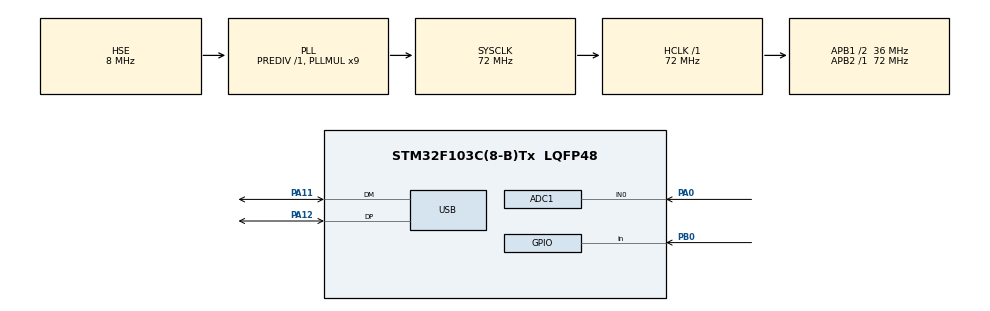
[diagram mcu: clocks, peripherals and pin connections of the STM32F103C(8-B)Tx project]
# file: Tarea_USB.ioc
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ADC1.Channel-0\#ChannelRegularConversion=ADC_CHANNEL_0
ADC1.ContinuousConvMode=DISABLE
ADC1.NbrOfConversion=1
ADC1.NbrOfConversionFlag=1
ADC1.Rank-0\#ChannelRegularConversion=1
ADC1.SamplingTime-0\#ChannelRegularConversion=ADC_SAMPLETIME_1CYCLE_5
ADC1.master=1
Dma.ADC1.0.Direction=DMA_PERIPH_TO_MEMORY
Dma.ADC1.0.Instance=DMA1_Channel1
Dma.ADC1.0.MemDataAlignment=DMA_MDATAALIGN_HALFWORD
Dma.ADC1.0.MemInc=DMA_MINC_ENABLE
Dma.ADC1.0.Mode=DMA_CIRCULAR
Dma.ADC1.0.PeriphDataAlignment=DMA_PDATAALIGN_HALFWORD
Dma.ADC1.0.PeriphInc=DMA_PINC_DISABLE
Dma.ADC1.0.Priority=DMA_PRIORITY_LOW
Dma.Request0=ADC1
Mcu.Family=STM32F1
Mcu.Name=STM32F103C(8-B)Tx
Mcu.Package=LQFP48
NVIC.ADC1_2_IRQn=true\:0\:0\:false\:false\:true\:true\:true\:true
NVIC.DMA1_Channel1_IRQn=true\:0\:0\:false\:false\:true\:false\:true\:true
NVIC.PriorityGroup=NVIC_PRIORITYGROUP_4
NVIC.USB_LP_CAN1_RX0_IRQn=true\:0\:0\:false\:false\:true\:false\:true\:true
PA0-WKUP.Signal=ADCx_IN0
PA11.Mode=Device
PA11.Signal=USB_DM
PA12.Mode=Device
PA12.Signal=USB_DP
PA13.Mode=Serial_Wire
PA13.Signal=SYS_JTMS-SWDIO
PA14.Mode=Serial_Wire
PA14.Signal=SYS_JTCK-SWCLK
PB0.GPIO_PuPd=GPIO_PULLUP
PB0.Signal=GPIO_Input
PD0-OSC_IN.Mode=HSE-External-Oscillator
PD0-OSC_IN.Signal=RCC_OSC_IN
PD1-OSC_OUT.Mode=HSE-External-Oscillator
PD1-OSC_OUT.Signal=RCC_OSC_OUT
ProjectManager.HeapSize=0x200
ProjectManager.StackSize=0x400
ProjectManager.TargetToolchain=STM32CubeIDE
RCC.ADCPresc=RCC_ADCPCLK2_DIV6
RCC.AHBFreq_Value=72000000
RCC.APB1CLKDivider=RCC_HCLK_DIV2
RCC.APB1Freq_Value=36000000
RCC.APB1TimFreq_Value=72000000
RCC.APB2Freq_Value=72000000
RCC.APB2TimFreq_Value=72000000
RCC.HCLKFreq_Value=72000000
RCC.PLLMUL=RCC_PLL_MUL9
RCC.PLLSourceVirtual=RCC_PLLSOURCE_HSE
RCC.SYSCLKFreq_VALUE=72000000
RCC.SYSCLKSource=RCC_SYSCLKSOURCE_PLLCLK
RCC.USBFreq_Value=48000000
RCC.USBPrescaler=RCC_USBCLKSOURCE_PLL_DIV1_5
SH.ADCx_IN0.0=ADC1_IN0,IN0
TIM3.Channel-Output\ Compare1\ No\ Output=TIM_CHANNEL_1
TIM3.Period=10285
TIM3.TIM_MasterOutputTrigger=TIM_TRGO_UPDATE
USB_DEVICE.CLASS_NAME_FS=HID
USB_DEVICE.VirtualMode=Hid
USB_DEVICE.VirtualModeFS=Hid_FS
VP_TIM3_VS_no_output1.Mode=Output Compare1 No Output
VP_USB_DEVICE_VS_USB_DEVICE_HID_FS.Mode=HID_FS
board=custom

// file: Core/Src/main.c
/* USER CODE BEGIN Header */
/**
  ******************************************************************************
  * @file           : main.c
  * @brief          : Main program body
  ******************************************************************************
  * @attention
  *
  * Copyright (c) 2022 STMicroelectronics.
  * All rights reserved.
  *
  * This software is licensed under terms that can be found in the LICENSE file
  * in the root directory of this software component.
  * If no LICENSE file comes with this software, it is provided AS-IS.
  *
  ******************************************************************************
  */
/* USER CODE END Header */
#include "main.h"
#include "usb_device.h"

/* USER CODE BEGIN Includes */
#include "arrebote.h"
#include "usbd_hid.h"
/* USER CODE END Includes */

/* USER CODE BEGIN PD */
#define PULSADOR_ACTIVO_BAJO	(1)
#define PULSADOR_TICS			(20)
#define PULSADOR_PUERTO			(GPIOB)
#define PULSADOR_PIN			(GPIO_PIN_0)
/* USER CODE END PD */

 ADC_HandleTypeDef hadc1;

TIM_HandleTypeDef htim3;

/* USER CODE BEGIN PV */

extern USBD_HandleTypeDef hUsbDeviceFS;

typedef struct
{
    uint8_t boton;
    int8_t X;
    int8_t Y;
}joystick_report;

int8_t reporte[3];
arrebote pulsador;
/* USER CODE END PV */

void SystemClock_Config(void);
static void MX_GPIO_Init(void);
static void MX_ADC1_Init(void);
static void MX_TIM3_Init(void);

int main(void)
{
  /* USER CODE BEGIN 1 */
//joystick_report reporte;
  /* USER CODE END 1 */

  /* MCU Configuration--------------------------------------------------------*/

  /* Reset of all peripherals, Initializes the Flash interface and the Systick. */
  HAL_Init();

  /* Configure the system clock */
  SystemClock_Config();

  /* Initialize all configured peripherals */
  MX_GPIO_Init();
  MX_USB_DEVICE_Init();
  MX_ADC1_Init();
  MX_TIM3_Init();
  /* USER CODE BEGIN 2 */

  reporte[0] = 0;

  //HAL_ADC_Start_DMA(&hadc1,(uint32_t*)&(reporte[1]), 1);//vario en X
  inicializar_arrebote(&pulsador, PULSADOR_ACTIVO_BAJO, PULSADOR_TICS);

  /* USER CODE END 2 */

  /* Infinite loop */
  /* USER CODE BEGIN WHILE */
  while (1)
  {
	  chequear_arrebote(&pulsador, HAL_GPIO_ReadPin(PULSADOR_PUERTO, PULSADOR_PIN));
	  if(hay_flanco_arrebote(&pulsador))
	  {
		  reporte[0] = 1 - reporte[0]; // toggle from 0 to 1 ... or 1 to 0
	  }
	  HAL_ADC_Start(&hadc1);
	  HAL_ADC_PollForConversion(&hadc1, HAL_MAX_DELAY);
	  reporte[1]= ((HAL_ADC_GetValue(&hadc1))>>4) & 0xFF;
	  HAL_Delay(10);
	  USBD_HID_SendReport(&hUsbDeviceFS, (uint8_t*)reporte, 3);
    /* USER CODE END WHILE */

  }
}

void SystemClock_Config(void)
{
  RCC_OscInitTypeDef RCC_OscInitStruct = {0};
  RCC_ClkInitTypeDef RCC_ClkInitStruct = {0};
  RCC_PeriphCLKInitTypeDef PeriphClkInit = {0};

  /** Initializes the RCC Oscillators according to the specified parameters
  * in the RCC_OscInitTypeDef structure.
  */
  RCC_OscInitStruct.OscillatorType = RCC_OSCILLATORTYPE_HSE;
  RCC_OscInitStruct.HSEState = RCC_HSE_ON;
  RCC_OscInitStruct.HSEPredivValue = RCC_HSE_PREDIV_DIV1;
  RCC_OscInitStruct.HSIState = RCC_HSI_ON;
  RCC_OscInitStruct.PLL.PLLState = RCC_PLL_ON;
  RCC_OscInitStruct.PLL.PLLSource = RCC_PLLSOURCE_HSE;
  RCC_OscInitStruct.PLL.PLLMUL = RCC_PLL_MUL9;
  if (HAL_RCC_OscConfig(&RCC_OscInitStruct) != HAL_OK)
  {
    Error_Handler();
  }

  /** Initializes the CPU, AHB and APB buses clocks
  */
  RCC_ClkInitStruct.ClockType = RCC_CLOCKTYPE_HCLK|RCC_CLOCKTYPE_SYSCLK
                              |RCC_CLOCKTYPE_PCLK1|RCC_CLOCKTYPE_PCLK2;
  RCC_ClkInitStruct.SYSCLKSource = RCC_SYSCLKSOURCE_PLLCLK;
  RCC_ClkInitStruct.AHBCLKDivider = RCC_SYSCLK_DIV1;
  RCC_ClkInitStruct.APB1CLKDivider = RCC_HCLK_DIV2;
  RCC_ClkInitStruct.APB2CLKDivider = RCC_HCLK_DIV1;

  if (HAL_RCC_ClockConfig(&RCC_ClkInitStruct, FLASH_LATENCY_2) != HAL_OK)
  {
    Error_Handler();
  }
  PeriphClkInit.PeriphClockSelection = RCC_PERIPHCLK_ADC|RCC_PERIPHCLK_USB;
  PeriphClkInit.AdcClockSelection = RCC_ADCPCLK2_DIV6;
  PeriphClkInit.UsbClockSelection = RCC_USBCLKSOURCE_PLL_DIV1_5;
  if (HAL_RCCEx_PeriphCLKConfig(&PeriphClkInit) != HAL_OK)
  {
    Error_Handler();
  }
}

static void MX_ADC1_Init(void)
{

  ADC_ChannelConfTypeDef sConfig = {0};

  /** Common config
  */
  hadc1.Instance = ADC1;
  hadc1.Init.ScanConvMode = ADC_SCAN_DISABLE;
  hadc1.Init.ContinuousConvMode = ENABLE;
  hadc1.Init.DiscontinuousConvMode = DISABLE;
  hadc1.Init.ExternalTrigConv = ADC_SOFTWARE_START;
  hadc1.Init.DataAlign = ADC_DATAALIGN_RIGHT;
  hadc1.Init.NbrOfConversion = 1;
  if (HAL_ADC_Init(&hadc1) != HAL_OK)
  {
    Error_Handler();
  }

  /** Configure Regular Channel
  */
  sConfig.Channel = ADC_CHANNEL_0;
  sConfig.Rank = ADC_REGULAR_RANK_1;
  sConfig.SamplingTime = ADC_SAMPLETIME_1CYCLE_5;
  if (HAL_ADC_ConfigChannel(&hadc1, &sConfig) != HAL_OK)
  {
    Error_Handler();
  }

}

static void MX_TIM3_Init(void)
{

  TIM_MasterConfigTypeDef sMasterConfig = {0};
  TIM_OC_InitTypeDef sConfigOC = {0};

  htim3.Instance = TIM3;
  htim3.Init.Prescaler = 0;
  htim3.Init.CounterMode = TIM_COUNTERMODE_UP;
  htim3.Init.Period = 10285;
  htim3.Init.ClockDivision = TIM_CLOCKDIVISION_DIV1;
  htim3.Init.AutoReloadPreload = TIM_AUTORELOAD_PRELOAD_DISABLE;
  if (HAL_TIM_OC_Init(&htim3) != HAL_OK)
  {
    Error_Handler();
  }
  sMasterConfig.MasterOutputTrigger = TIM_TRGO_UPDATE;
  sMasterConfig.MasterSlaveMode = TIM_MASTERSLAVEMODE_DISABLE;
  if (HAL_TIMEx_MasterConfigSynchronization(&htim3, &sMasterConfig) != HAL_OK)
  {
    Error_Handler();
  }
  sConfigOC.OCMode = TIM_OCMODE_TIMING;
  sConfigOC.Pulse = 0;
  sConfigOC.OCPolarity = TIM_OCPOLARITY_HIGH;
  sConfigOC.OCFastMode = TIM_OCFAST_DISABLE;
  if (HAL_TIM_OC_ConfigChannel(&htim3, &sConfigOC, TIM_CHANNEL_1) != HAL_OK)
  {
    Error_Handler();
  }

}

static void MX_GPIO_Init(void)
{
  GPIO_InitTypeDef GPIO_InitStruct = {0};

  /* GPIO Ports Clock Enable */
  __HAL_RCC_GPIOD_CLK_ENABLE();
  __HAL_RCC_GPIOA_CLK_ENABLE();
  __HAL_RCC_GPIOB_CLK_ENABLE();

  /*Configure GPIO pin : PB0 */
  GPIO_InitStruct.Pin = GPIO_PIN_0;
  GPIO_InitStruct.Mode = GPIO_MODE_INPUT;
  GPIO_InitStruct.Pull = GPIO_PULLUP;
  HAL_GPIO_Init(GPIOB, &GPIO_InitStruct);

}

void Error_Handler(void)
{
  __disable_irq();
  while (1)
  {
  }
}
